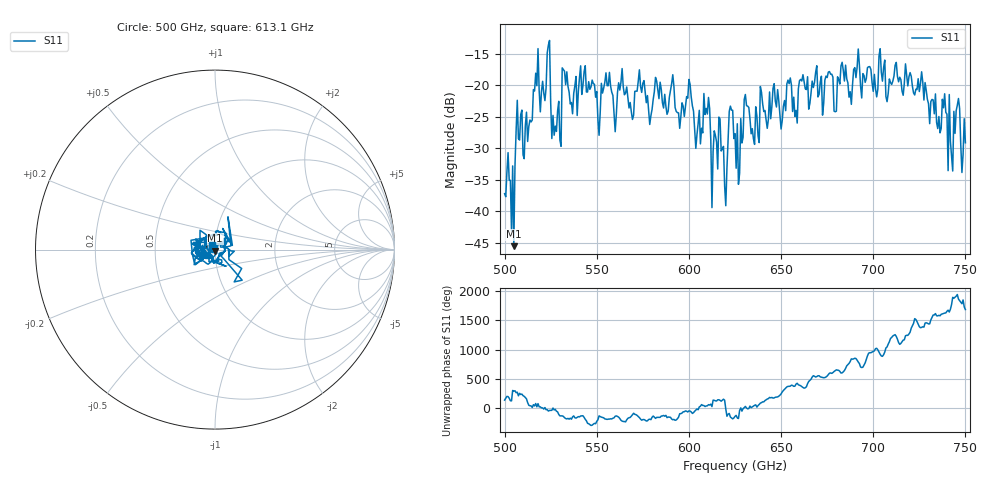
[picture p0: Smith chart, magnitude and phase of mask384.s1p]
!Created with skrf (http://scikit-rf.org).
# GHz S MA R 50.0
!freq magS11 angS11
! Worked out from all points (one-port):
!   401 points, 500 GHz to 750 GHz, reference 50 ohm
!   lowest |S11| = -45.6 dB at 505 GHz (marker M1), VSWR 1.01, Z = 50.1 - j0.516 ohm
!   |S11| at or under -10 dB: start of sweep to end of sweep
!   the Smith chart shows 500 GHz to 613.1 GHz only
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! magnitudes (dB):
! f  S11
! 500 GHz  -37.2
! 505 GHz  -45.6
! 507.5 GHz  -28.5
! 513.8 GHz  -25.5
! 516.9 GHz  -18.0
! 520.6 GHz  -19.3
! 523.8 GHz  -13.6
! 526.9 GHz  -27.9
! 531.2 GHz  -17.2
! 532.5 GHz  -17.7
! 550.6 GHz  -25.4
! 562.5 GHz  -20.7
! 568.8 GHz  -24.2
! 590.6 GHz  -19.7
! 593.8 GHz  -24.3
! 605 GHz  -26.0
! 609.4 GHz  -23.6
! 619.4 GHz  -36.0
! 622.5 GHz  -23.3
! 625 GHz  -27.7
! 628.1 GHz  -25.3
! 631.2 GHz  -23.2
! 634.4 GHz  -26.9
! 656.2 GHz  -24.1
! 687.5 GHz  -21.0
! 691.2 GHz  -17.1
! 718.8 GHz  -20.1
! 750 GHz  -29.1
